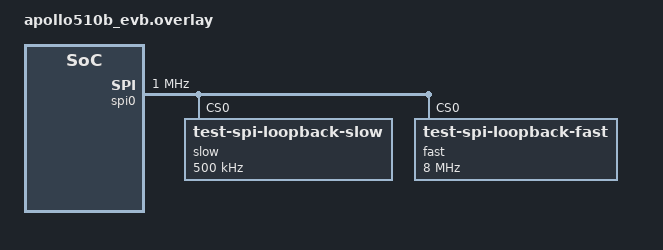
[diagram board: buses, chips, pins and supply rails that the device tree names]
/*
 * Copyright (c) 2026 Ambiq Micro Inc.
 *
 * SPDX-License-Identifier: Apache-2.0
 */

&iom0 {
	spi0: spi {
		pinctrl-0 = <&spi0_default>;
		pinctrl-names = "default";
		clock-frequency = <1000000>;
		status = "okay";

		slow@0 {
			compatible = "test-spi-loopback-slow";
			reg = <0>;
			spi-max-frequency = <500000>;
		};

		fast@0 {
			compatible = "test-spi-loopback-fast";
			reg = <0>;
			spi-max-frequency = <8000000>;
		};
	};
};
